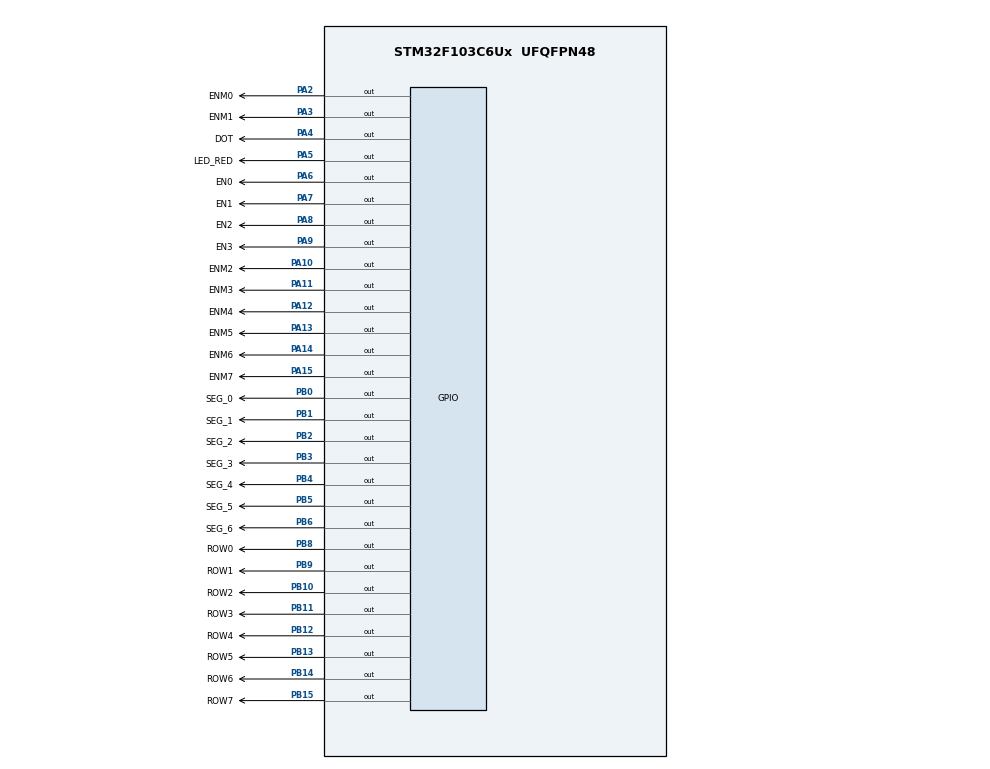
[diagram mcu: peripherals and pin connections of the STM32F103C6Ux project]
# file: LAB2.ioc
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Mcu.Family=STM32F1
Mcu.Name=STM32F103C6Ux
Mcu.Package=UFQFPN48
NVIC.PriorityGroup=NVIC_PRIORITYGROUP_4
NVIC.TIM2_IRQn=true\:0\:0\:false\:false\:true\:true\:true
PA10.GPIO_Label=ENM2
PA10.Signal=GPIO_Output
PA11.GPIO_Label=ENM3
PA11.Signal=GPIO_Output
PA12.GPIO_Label=ENM4
PA12.Signal=GPIO_Output
PA13.GPIO_Label=ENM5
PA13.Signal=GPIO_Output
PA14.GPIO_Label=ENM6
PA14.Signal=GPIO_Output
PA15.GPIO_Label=ENM7
PA15.Signal=GPIO_Output
PA2.GPIO_Label=ENM0
PA2.Signal=GPIO_Output
PA3.GPIO_Label=ENM1
PA3.Signal=GPIO_Output
PA4.GPIO_Label=DOT
PA4.Signal=GPIO_Output
PA5.GPIO_Label=LED_RED
PA5.Signal=GPIO_Output
PA6.GPIO_Label=EN0
PA6.Signal=GPIO_Output
PA7.GPIO_Label=EN1
PA7.Signal=GPIO_Output
PA8.GPIO_Label=EN2
PA8.Signal=GPIO_Output
PA9.GPIO_Label=EN3
PA9.Signal=GPIO_Output
PB0.GPIO_Label=SEG_0
PB0.Signal=GPIO_Output
PB1.GPIO_Label=SEG_1
PB1.Signal=GPIO_Output
PB10.GPIO_Label=ROW2
PB10.Signal=GPIO_Output
PB11.GPIO_Label=ROW3
PB11.Signal=GPIO_Output
PB12.GPIO_Label=ROW4
PB12.Signal=GPIO_Output
PB13.GPIO_Label=ROW5
PB13.Signal=GPIO_Output
PB14.GPIO_Label=ROW6
PB14.Signal=GPIO_Output
PB15.GPIO_Label=ROW7
PB15.Signal=GPIO_Output
PB2.GPIO_Label=SEG_2
PB2.Signal=GPIO_Output
PB3.GPIO_Label=SEG_3
PB3.Signal=GPIO_Output
PB4.GPIO_Label=SEG_4
PB4.Signal=GPIO_Output
PB5.GPIO_Label=SEG_5
PB5.Signal=GPIO_Output
PB6.GPIO_Label=SEG_6
PB6.Signal=GPIO_Output
PB8.GPIO_Label=ROW0
PB8.Signal=GPIO_Output
PB9.GPIO_Label=ROW1
PB9.Signal=GPIO_Output
ProjectManager.HeapSize=0x200
ProjectManager.StackSize=0x400
ProjectManager.TargetToolchain=STM32CubeIDE
RCC.AHBFreq_Value=8000000
RCC.APB1Freq_Value=8000000
RCC.APB1TimFreq_Value=8000000
RCC.APB2Freq_Value=8000000
RCC.APB2TimFreq_Value=8000000
RCC.HCLKFreq_Value=8000000
TIM2.Period=9
TIM2.Prescaler=7999
VP_SYS_VS_ND.Mode=No_Debug
VP_TIM2_VS_ClockSourceINT.Mode=Internal
board=custom

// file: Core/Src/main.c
/* USER CODE BEGIN Header */
/**
  ******************************************************************************
  * @file           : main.c
  * @brief          : Main program body
  ******************************************************************************
  * @attention
  *
  * <h2><center>&copy; Copyright (c) 2024 STMicroelectronics.
  * All rights reserved.</center></h2>
  *
  * This software component is licensed by ST under BSD 3-Clause license,
  * the "License"; You may not use this file except in compliance with the
  * License. You may obtain a copy of the License at:
  *                        opensource.org/licenses/BSD-3-Clause
  *
  ******************************************************************************
  */
/* USER CODE END Header */
#include "main.h"

/* USER CODE BEGIN Includes */
#include "software_timer.h"
/* USER CODE END Includes */

TIM_HandleTypeDef htim2;

void SystemClock_Config(void);
static void MX_GPIO_Init(void);
static void MX_TIM2_Init(void);

int main(void)
{

  /* MCU Configuration--------------------------------------------------------*/

  /* Reset of all peripherals, Initializes the Flash interface and the Systick. */
  HAL_Init();

  /* Configure the system clock */
  SystemClock_Config();

  /* Initialize all configured peripherals */
  MX_GPIO_Init();
  MX_TIM2_Init();
  /* USER CODE BEGIN 2 */
  HAL_TIM_Base_Start_IT (& htim2 ) ;
  /* USER CODE END 2 */

  /* Infinite loop */
  /* USER CODE BEGIN WHILE */
  setTimer1(25);
  setTimer2(100);
  setTimer3(100);
  setTimer0(1000);

  const int MAX_LED = 4;
  int index_led = 0;
  int hour = 15, minute = 8, second = 50;

  while (1)
  {
	  if (timer0_flag == 1) {
			  HAL_GPIO_TogglePin ( LED_RED_GPIO_Port , LED_RED_Pin ) ;
			  setTimer0 (1000) ;
		  }

	  if (timer3_flag == 1) {
		  setTimer3(100);
          second++;
            if (second >= 60) {
                second = 0;
                minute++;
            }
            if (minute >= 60) {
                minute = 0;
                hour++;
            }
            if (hour >= 24) {
                hour = 0;
            }

          updateClockBuffer(hour, minute);

	  	  }
	  if (timer1_flag == 1) {
		  setTimer1(25);
	      update7SEG(index_led);
	      index_led = (index_led + 1) % MAX_LED;
	          }

	  if (timer2_flag == 1) {
		  setTimer2(100);
		  HAL_GPIO_TogglePin(DOT_GPIO_Port, DOT_Pin);
	      }

    /* USER CODE END WHILE */

  }
}

void SystemClock_Config(void)
{
  RCC_OscInitTypeDef RCC_OscInitStruct = {0};
  RCC_ClkInitTypeDef RCC_ClkInitStruct = {0};

  /** Initializes the RCC Oscillators according to the specified parameters
  * in the RCC_OscInitTypeDef structure.
  */
  RCC_OscInitStruct.OscillatorType = RCC_OSCILLATORTYPE_HSI;
  RCC_OscInitStruct.HSIState = RCC_HSI_ON;
  RCC_OscInitStruct.HSICalibrationValue = RCC_HSICALIBRATION_DEFAULT;
  RCC_OscInitStruct.PLL.PLLState = RCC_PLL_NONE;
  if (HAL_RCC_OscConfig(&RCC_OscInitStruct) != HAL_OK)
  {
    Error_Handler();
  }
  /** Initializes the CPU, AHB and APB buses clocks
  */
  RCC_ClkInitStruct.ClockType = RCC_CLOCKTYPE_HCLK|RCC_CLOCKTYPE_SYSCLK
                              |RCC_CLOCKTYPE_PCLK1|RCC_CLOCKTYPE_PCLK2;
  RCC_ClkInitStruct.SYSCLKSource = RCC_SYSCLKSOURCE_HSI;
  RCC_ClkInitStruct.AHBCLKDivider = RCC_SYSCLK_DIV1;
  RCC_ClkInitStruct.APB1CLKDivider = RCC_HCLK_DIV1;
  RCC_ClkInitStruct.APB2CLKDivider = RCC_HCLK_DIV1;

  if (HAL_RCC_ClockConfig(&RCC_ClkInitStruct, FLASH_LATENCY_0) != HAL_OK)
  {
    Error_Handler();
  }
}

static void MX_TIM2_Init(void)
{

  TIM_ClockConfigTypeDef sClockSourceConfig = {0};
  TIM_MasterConfigTypeDef sMasterConfig = {0};

  htim2.Instance = TIM2;
  htim2.Init.Prescaler = 7999;
  htim2.Init.CounterMode = TIM_COUNTERMODE_UP;
  htim2.Init.Period = 9;
  htim2.Init.ClockDivision = TIM_CLOCKDIVISION_DIV1;
  htim2.Init.AutoReloadPreload = TIM_AUTORELOAD_PRELOAD_DISABLE;
  if (HAL_TIM_Base_Init(&htim2) != HAL_OK)
  {
    Error_Handler();
  }
  sClockSourceConfig.ClockSource = TIM_CLOCKSOURCE_INTERNAL;
  if (HAL_TIM_ConfigClockSource(&htim2, &sClockSourceConfig) != HAL_OK)
  {
    Error_Handler();
  }
  sMasterConfig.MasterOutputTrigger = TIM_TRGO_RESET;
  sMasterConfig.MasterSlaveMode = TIM_MASTERSLAVEMODE_DISABLE;
  if (HAL_TIMEx_MasterConfigSynchronization(&htim2, &sMasterConfig) != HAL_OK)
  {
    Error_Handler();
  }

}

static void MX_GPIO_Init(void)
{
  GPIO_InitTypeDef GPIO_InitStruct = {0};

  /* GPIO Ports Clock Enable */
  __HAL_RCC_GPIOA_CLK_ENABLE();
  __HAL_RCC_GPIOB_CLK_ENABLE();

  /*Configure GPIO pin Output Level */
  HAL_GPIO_WritePin(GPIOA, DOT_Pin|LED_RED_Pin|EN0_Pin|EN1_Pin
                          |EN2_Pin|EN3_Pin, GPIO_PIN_RESET);

  /*Configure GPIO pin Output Level */
  HAL_GPIO_WritePin(GPIOB, SEG_0_Pin|SEG_1_Pin|SEG_2_Pin|SEG_3_Pin
                          |SEG_4_Pin|SEG_5_Pin|SEG_6_Pin, GPIO_PIN_RESET);

  /*Configure GPIO pins : DOT_Pin LED_RED_Pin EN0_Pin EN1_Pin
                           EN2_Pin EN3_Pin */
  GPIO_InitStruct.Pin = DOT_Pin|LED_RED_Pin|EN0_Pin|EN1_Pin
                          |EN2_Pin|EN3_Pin;
  GPIO_InitStruct.Mode = GPIO_MODE_OUTPUT_PP;
  GPIO_InitStruct.Pull = GPIO_NOPULL;
  GPIO_InitStruct.Speed = GPIO_SPEED_FREQ_LOW;
  HAL_GPIO_Init(GPIOA, &GPIO_InitStruct);

  /*Configure GPIO pins : SEG_0_Pin SEG_1_Pin SEG_2_Pin SEG_3_Pin
                           SEG_4_Pin SEG_5_Pin SEG_6_Pin */
  GPIO_InitStruct.Pin = SEG_0_Pin|SEG_1_Pin|SEG_2_Pin|SEG_3_Pin
                          |SEG_4_Pin|SEG_5_Pin|SEG_6_Pin;
  GPIO_InitStruct.Mode = GPIO_MODE_OUTPUT_PP;
  GPIO_InitStruct.Pull = GPIO_NOPULL;
  GPIO_InitStruct.Speed = GPIO_SPEED_FREQ_LOW;
  HAL_GPIO_Init(GPIOB, &GPIO_InitStruct);

}

/* USER CODE BEGIN 4 */
void HAL_TIM_PeriodElapsedCallback ( TIM_HandleTypeDef * htim )
	{
	timerRun();
}
/* USER CODE END 4 */

void Error_Handler(void)
{
  __disable_irq();
  while (1)
  {
  }
}

/************************ (C) COPYRIGHT STMicroelectronics *****END OF FILE****/
